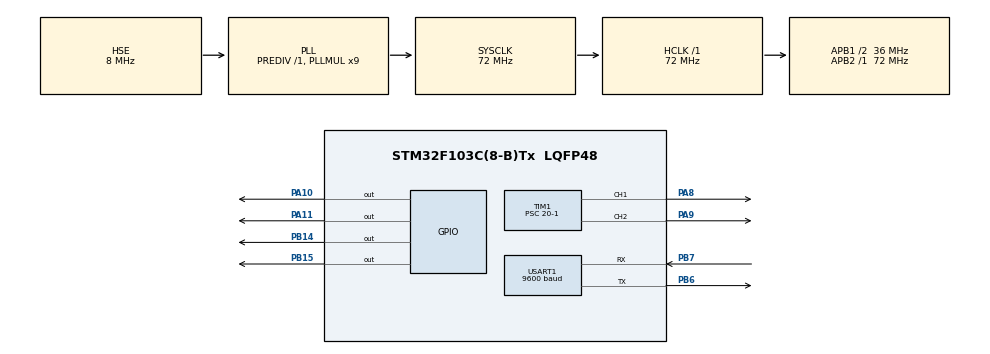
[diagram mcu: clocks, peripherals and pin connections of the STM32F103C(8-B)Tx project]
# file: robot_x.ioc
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Mcu.Family=STM32F1
Mcu.Name=STM32F103C(8-B)Tx
Mcu.Package=LQFP48
NVIC.PriorityGroup=NVIC_PRIORITYGROUP_4
NVIC.USART1_IRQn=true\:0\:0\:false\:true\:true\:1\:true\:true
PA10.Signal=GPIO_Output
PA11.Signal=GPIO_Output
PA13.Mode=Serial_Wire
PA13.Signal=SYS_JTMS-SWDIO
PA14.Mode=Serial_Wire
PA14.Signal=SYS_JTCK-SWCLK
PA8.Signal=S_TIM1_CH1
PA9.Signal=S_TIM1_CH2
PB14.Signal=GPIO_Output
PB15.Signal=GPIO_Output
PB6.Mode=Asynchronous
PB6.Signal=USART1_TX
PB7.Mode=Asynchronous
PB7.Signal=USART1_RX
PD0-OSC_IN.Mode=HSE-External-Oscillator
PD0-OSC_IN.Signal=RCC_OSC_IN
PD1-OSC_OUT.Mode=HSE-External-Oscillator
PD1-OSC_OUT.Signal=RCC_OSC_OUT
ProjectManager.HeapSize=0x200
ProjectManager.StackSize=0x400
ProjectManager.TargetToolchain=MDK-ARM V5.27
RCC.AHBFreq_Value=72000000
RCC.APB1CLKDivider=RCC_HCLK_DIV2
RCC.APB1Freq_Value=36000000
RCC.APB1TimFreq_Value=72000000
RCC.APB2Freq_Value=72000000
RCC.APB2TimFreq_Value=72000000
RCC.HCLKFreq_Value=72000000
RCC.PLLMUL=RCC_PLL_MUL9
RCC.PLLSourceVirtual=RCC_PLLSOURCE_HSE
RCC.SYSCLKFreq_VALUE=72000000
RCC.SYSCLKSource=RCC_SYSCLKSOURCE_PLLCLK
RCC.USBFreq_Value=72000000
SH.S_TIM1_CH1.0=TIM1_CH1,PWM Generation1 CH1
SH.S_TIM1_CH2.0=TIM1_CH2,PWM Generation2 CH2
TIM1.Channel-PWM\ Generation1\ CH1=TIM_CHANNEL_1
TIM1.Channel-PWM\ Generation2\ CH2=TIM_CHANNEL_2
TIM1.Period=10000-1
TIM1.Prescaler=20-1
TIM1.Pulse-PWM\ Generation1\ CH1=5000-1
TIM1.Pulse-PWM\ Generation2\ CH2=2500-1
USART1.BaudRate=9600
USART1.VirtualMode=VM_ASYNC
board=custom

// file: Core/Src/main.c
/* USER CODE BEGIN Header */
/**
  ******************************************************************************
  * @file           : main.c
  * @brief          : Main program body
  ******************************************************************************
  * @attention
  *
  * <h2><center>&copy; Copyright (c) 2021 STMicroelectronics.
  * All rights reserved.</center></h2>
  *
  * This software component is licensed by ST under BSD 3-Clause license,
  * the "License"; You may not use this file except in compliance with the
  * License. You may obtain a copy of the License at:
  *                        opensource.org/licenses/BSD-3-Clause
  *
  ******************************************************************************
  */
/* USER CODE END Header */
#include "main.h"
#include "tim.h"
#include "usart.h"
#include "gpio.h"

void SystemClock_Config(void);
static void MX_NVIC_Init(void);

int main(void)
{

  /* MCU Configuration--------------------------------------------------------*/

  /* Reset of all peripherals, Initializes the Flash interface and the Systick. */
  HAL_Init();

  /* Configure the system clock */
  SystemClock_Config();

  /* Initialize all configured peripherals */
  MX_GPIO_Init();
  MX_TIM1_Init();
  MX_USART1_UART_Init();

  /* Initialize interrupts */
  MX_NVIC_Init();
  /* USER CODE BEGIN 2 */
	HAL_Delay(25000);

	HAL_TIM_PWM_Start(&htim1, TIM_CHANNEL_1);
	HAL_TIM_PWM_Start(&htim1, TIM_CHANNEL_2);
	//go S
	HAL_GPIO_WritePin(GPIOA, GPIO_PIN_10, GPIO_PIN_SET);
	HAL_GPIO_WritePin(GPIOA, GPIO_PIN_11, GPIO_PIN_RESET);//motorA
	TIM1->CCR1=2500-1;
	HAL_GPIO_WritePin(GPIOB, GPIO_PIN_14, GPIO_PIN_RESET);
	HAL_GPIO_WritePin(GPIOB, GPIO_PIN_15, GPIO_PIN_SET);//motorB
	TIM1->CCR2=2500-1;

	HAL_Delay(500);

	HAL_GPIO_WritePin(GPIOA, GPIO_PIN_10, GPIO_PIN_SET);
	HAL_GPIO_WritePin(GPIOA, GPIO_PIN_11, GPIO_PIN_SET);//motorA
	TIM1->CCR1=2500-1;
	HAL_GPIO_WritePin(GPIOB, GPIO_PIN_14, GPIO_PIN_SET);
	HAL_GPIO_WritePin(GPIOB, GPIO_PIN_15, GPIO_PIN_SET);//motorB

	HAL_Delay(1000);

	HAL_GPIO_WritePin(GPIOA, GPIO_PIN_10, GPIO_PIN_RESET);
	HAL_GPIO_WritePin(GPIOA, GPIO_PIN_11, GPIO_PIN_SET);//motorA
	HAL_GPIO_WritePin(GPIOB, GPIO_PIN_14, GPIO_PIN_RESET);
	HAL_GPIO_WritePin(GPIOB, GPIO_PIN_15, GPIO_PIN_SET);//motorB
	TIM1->CCR1=2500-1;
	TIM1->CCR2=2500-1;

	HAL_Delay(2500);

  /* USER CODE END 2 */

  /* Infinite loop */
  while (1)
  {

    /* USER CODE BEGIN 3 */
		/*
	//go straight
		HAL_GPIO_WritePin(GPIOA, GPIO_PIN_10, GPIO_PIN_RESET);
		HAL_GPIO_WritePin(GPIOA, GPIO_PIN_11, GPIO_PIN_SET);//motorA
		//TIM1->CCR1=2750-1;
		HAL_GPIO_WritePin(GPIOB, GPIO_PIN_14, GPIO_PIN_RESET);
		HAL_GPIO_WritePin(GPIOB, GPIO_PIN_15, GPIO_PIN_SET);//motorB
		//TIM1->CCR2=2750-1;
		HAL_Delay(3000);
		*/
		//TIM1->CCR1=5000-1;
		//TIM1->CCR2=5000-1;

		HAL_GPIO_WritePin(GPIOA, GPIO_PIN_10, GPIO_PIN_RESET);
		HAL_GPIO_WritePin(GPIOA, GPIO_PIN_11, GPIO_PIN_SET);//motorA

		HAL_GPIO_WritePin(GPIOB, GPIO_PIN_14, GPIO_PIN_RESET);
		HAL_GPIO_WritePin(GPIOB, GPIO_PIN_15, GPIO_PIN_SET);//motorB
	//go left
		TIM1->CCR1=2500-1;
		TIM1->CCR2=4000-1;
		HAL_Delay(2500);

	//go back
		HAL_GPIO_WritePin(GPIOA, GPIO_PIN_10, GPIO_PIN_SET);
		HAL_GPIO_WritePin(GPIOA, GPIO_PIN_11, GPIO_PIN_SET);//motorA

		HAL_GPIO_WritePin(GPIOB, GPIO_PIN_14, GPIO_PIN_SET);
		HAL_GPIO_WritePin(GPIOB, GPIO_PIN_15, GPIO_PIN_SET);//motorB

		HAL_Delay(2500);

	//go left
		TIM1->CCR1=2500-1;
		TIM1->CCR2=4000-1;

		HAL_Delay(2000);
  }
  /* USER CODE END 3 */
}

void SystemClock_Config(void)
{
  RCC_OscInitTypeDef RCC_OscInitStruct = {0};
  RCC_ClkInitTypeDef RCC_ClkInitStruct = {0};

  /** Initializes the RCC Oscillators according to the specified parameters
  * in the RCC_OscInitTypeDef structure.
  */
  RCC_OscInitStruct.OscillatorType = RCC_OSCILLATORTYPE_HSE;
  RCC_OscInitStruct.HSEState = RCC_HSE_ON;
  RCC_OscInitStruct.HSEPredivValue = RCC_HSE_PREDIV_DIV1;
  RCC_OscInitStruct.HSIState = RCC_HSI_ON;
  RCC_OscInitStruct.PLL.PLLState = RCC_PLL_ON;
  RCC_OscInitStruct.PLL.PLLSource = RCC_PLLSOURCE_HSE;
  RCC_OscInitStruct.PLL.PLLMUL = RCC_PLL_MUL9;
  if (HAL_RCC_OscConfig(&RCC_OscInitStruct) != HAL_OK)
  {
    Error_Handler();
  }
  /** Initializes the CPU, AHB and APB buses clocks
  */
  RCC_ClkInitStruct.ClockType = RCC_CLOCKTYPE_HCLK|RCC_CLOCKTYPE_SYSCLK
                              |RCC_CLOCKTYPE_PCLK1|RCC_CLOCKTYPE_PCLK2;
  RCC_ClkInitStruct.SYSCLKSource = RCC_SYSCLKSOURCE_PLLCLK;
  RCC_ClkInitStruct.AHBCLKDivider = RCC_SYSCLK_DIV1;
  RCC_ClkInitStruct.APB1CLKDivider = RCC_HCLK_DIV2;
  RCC_ClkInitStruct.APB2CLKDivider = RCC_HCLK_DIV1;

  if (HAL_RCC_ClockConfig(&RCC_ClkInitStruct, FLASH_LATENCY_2) != HAL_OK)
  {
    Error_Handler();
  }
}

/**
  * @brief NVIC Configuration.
  * @retval None
  */
static void MX_NVIC_Init(void)
{
  /* USART1_IRQn interrupt configuration */
  HAL_NVIC_SetPriority(USART1_IRQn, 0, 0);
  HAL_NVIC_EnableIRQ(USART1_IRQn);
}

void Error_Handler(void)
{
}

/************************ (C) COPYRIGHT STMicroelectronics *****END OF FILE****/
